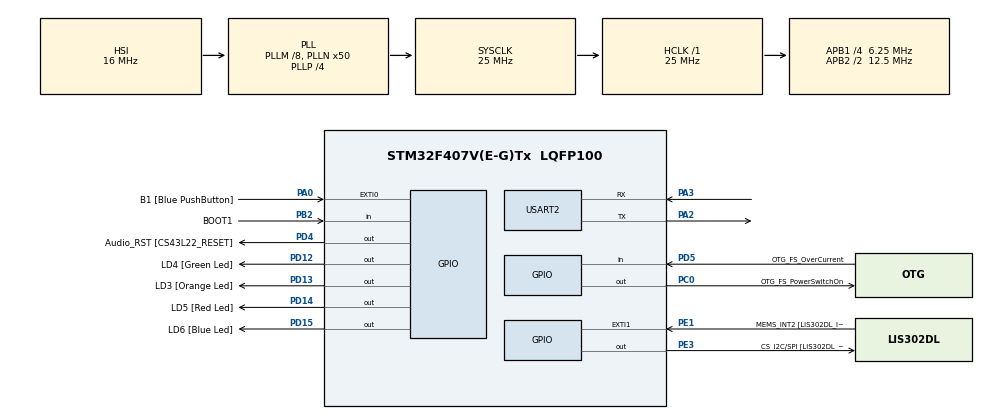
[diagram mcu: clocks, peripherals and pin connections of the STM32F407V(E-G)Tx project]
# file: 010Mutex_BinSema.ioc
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Mcu.Family=STM32F4
Mcu.Name=STM32F407V(E-G)Tx
Mcu.Package=LQFP100
NVIC.EXTI0_IRQn=true\:0\:0\:false\:false\:true\:true\:true
NVIC.PriorityGroup=NVIC_PRIORITYGROUP_4
NVIC.TIM6_DAC_IRQn=true\:15\:0\:false\:false\:true\:false\:true
NVIC.TimeBase=TIM6_DAC_IRQn
NVIC.TimeBaseIP=TIM6
NVIC.USART2_IRQn=true\:0\:0\:false\:false\:true\:true\:true
PA0-WKUP.GPIO_Label=B1 [Blue PushButton]
PA0-WKUP.Signal=GPXTI0
PA10.GPIO_Label=OTG_FS_ID
PA10.GPIO_Mode=GPIO_MODE_AF_PP
PA10.GPIO_PuPd=GPIO_NOPULL
PA10.GPIO_Speed=GPIO_SPEED_FREQ_LOW
PA10.Signal=USB_OTG_FS_ID
PA11.GPIO_Label=OTG_FS_DM
PA11.GPIO_Mode=GPIO_MODE_AF_PP
PA11.GPIO_PuPd=GPIO_NOPULL
PA11.GPIO_Speed=GPIO_SPEED_FREQ_LOW
PA11.Signal=USB_OTG_FS_DM
PA12.GPIO_Label=OTG_FS_DP
PA12.GPIO_Mode=GPIO_MODE_AF_PP
PA12.GPIO_PuPd=GPIO_NOPULL
PA12.GPIO_Speed=GPIO_SPEED_FREQ_LOW
PA12.Signal=USB_OTG_FS_DP
PA13.GPIO_Label=SWDIO
PA13.Signal=SYS_JTMS-SWDIO
PA14.GPIO_Label=SWCLK
PA14.Signal=SYS_JTCK-SWCLK
PA2.Mode=Asynchronous
PA2.Signal=USART2_TX
PA3.Mode=Asynchronous
PA3.Signal=USART2_RX
PA4.GPIO_Label=I2S3_WS [CS43L22_LRCK]
PA4.GPIO_Mode=GPIO_MODE_AF_PP
PA4.GPIO_PuPd=GPIO_NOPULL
PA4.GPIO_Speed=GPIO_SPEED_FREQ_LOW
PA4.Signal=I2S3_WS
PA5.GPIO_Label=SPI1_SCK [LIS302DL_SCL/SPC]
PA5.GPIO_Mode=GPIO_MODE_AF_PP
PA5.GPIO_PuPd=GPIO_NOPULL
PA5.GPIO_Speed=GPIO_SPEED_FREQ_LOW
PA5.Signal=SPI1_SCK
PA6.GPIO_Label=SPI1_MISO [LIS302DL_SDO]
PA6.GPIO_Mode=GPIO_MODE_AF_PP
PA6.GPIO_PuPd=GPIO_NOPULL
PA6.GPIO_Speed=GPIO_SPEED_FREQ_LOW
PA6.Signal=SPI1_MISO
PA7.GPIO_Label=SPI1_MOSI [LIS302DL_SDA/SDI/SDO]
PA7.GPIO_Mode=GPIO_MODE_AF_PP
PA7.GPIO_PuPd=GPIO_NOPULL
PA7.GPIO_Speed=GPIO_SPEED_FREQ_LOW
PA7.Signal=SPI1_MOSI
PA9.GPIO_Label=VBUS_FS
PA9.GPIO_Mode=GPIO_MODE_INPUT
PA9.GPIO_PuPd=GPIO_NOPULL
PA9.Signal=USB_OTG_FS_VBUS
PB10.GPIO_Label=CLK_IN [MP45DT02_CLK]
PB10.GPIO_Mode=GPIO_MODE_AF_PP
PB10.GPIO_PuPd=GPIO_NOPULL
PB10.GPIO_Speed=GPIO_SPEED_FREQ_LOW
PB10.Signal=I2S2_CK
PB2.GPIO_Label=BOOT1
PB2.GPIO_Mode=GPIO_MODE_INPUT
PB2.GPIO_PuPd=GPIO_NOPULL
PB2.Signal=GPIO_Input
PB3.GPIO_Label=SWO
PB3.Signal=SYS_JTDO-SWO
PB6.GPIO_Label=Audio_SCL [CS43L22_SCL]
PB6.GPIO_Mode=GPIO_MODE_AF_OD
PB6.GPIO_PuPd=GPIO_NOPULL
PB6.GPIO_Speed=GPIO_SPEED_FREQ_LOW
PB6.Signal=I2C1_SCL
PB9.GPIO_Label=Audio_SDA [CS43L22_SDA]
PB9.GPIO_Mode=GPIO_MODE_AF_OD
PB9.GPIO_PuPd=GPIO_NOPULL
PB9.GPIO_Speed=GPIO_SPEED_FREQ_LOW
PB9.Signal=I2C1_SDA
PC0.GPIO_Label=OTG_FS_PowerSwitchOn
PC0.GPIO_PuPd=GPIO_NOPULL
PC0.GPIO_Speed=GPIO_SPEED_FREQ_LOW
PC0.PinState=GPIO_PIN_SET
PC0.Signal=GPIO_Output
PC10.GPIO_Label=I2S3_SCK [CS43L22_SCLK]
PC10.GPIO_Mode=GPIO_MODE_AF_PP
PC10.GPIO_PuPd=GPIO_NOPULL
PC10.GPIO_Speed=GPIO_SPEED_FREQ_LOW
PC10.Signal=I2S3_CK
PC12.GPIO_Label=I2S3_SD [CS43L22_SDIN]
PC12.GPIO_Mode=GPIO_MODE_AF_PP
PC12.GPIO_PuPd=GPIO_NOPULL
PC12.GPIO_Speed=GPIO_SPEED_FREQ_LOW
PC12.Signal=I2S3_SD
PC14-OSC32_IN.GPIO_Label=PC14-OSC32_IN
PC14-OSC32_IN.Signal=RCC_OSC32_IN
PC15-OSC32_OUT.GPIO_Label=PC15-OSC32_OUT
PC15-OSC32_OUT.Signal=RCC_OSC32_OUT
PC3.GPIO_Label=PDM_OUT [MP45DT02_DOUT]
PC3.GPIO_Mode=GPIO_MODE_AF_PP
PC3.GPIO_PuPd=GPIO_NOPULL
PC3.GPIO_Speed=GPIO_SPEED_FREQ_LOW
PC3.Signal=I2S2_SD
PC7.GPIO_Label=I2S3_MCK [CS43L22_MCLK]
PC7.GPIO_Mode=GPIO_MODE_AF_PP
PC7.GPIO_PuPd=GPIO_NOPULL
PC7.GPIO_Speed=GPIO_SPEED_FREQ_LOW
PC7.Signal=I2S3_MCK
PD12.GPIO_Label=LD4 [Green Led]
PD12.GPIO_PuPd=GPIO_NOPULL
PD12.GPIO_Speed=GPIO_SPEED_FREQ_LOW
PD12.Signal=GPIO_Output
PD13.GPIO_Label=LD3 [Orange Led]
PD13.GPIO_PuPd=GPIO_NOPULL
PD13.GPIO_Speed=GPIO_SPEED_FREQ_LOW
PD13.Signal=GPIO_Output
PD14.GPIO_Label=LD5 [Red Led]
PD14.GPIO_PuPd=GPIO_NOPULL
PD14.GPIO_Speed=GPIO_SPEED_FREQ_LOW
PD14.Signal=GPIO_Output
PD15.GPIO_Label=LD6 [Blue Led]
PD15.GPIO_PuPd=GPIO_NOPULL
PD15.GPIO_Speed=GPIO_SPEED_FREQ_LOW
PD15.Signal=GPIO_Output
PD4.GPIO_Label=Audio_RST [CS43L22_RESET]
PD4.GPIO_PuPd=GPIO_NOPULL
PD4.GPIO_Speed=GPIO_SPEED_FREQ_LOW
PD4.Signal=GPIO_Output
PD5.GPIO_Label=OTG_FS_OverCurrent
PD5.GPIO_Mode=GPIO_MODE_INPUT
PD5.GPIO_PuPd=GPIO_NOPULL
PD5.Signal=GPIO_Input
PE1.GPIO_Label=MEMS_INT2 [LIS302DL_INT2]
PE1.GPIO_ModeDefaultEXTI=GPIO_MODE_EVT_RISING
PE1.GPIO_PuPd=GPIO_NOPULL
PE1.Signal=GPXTI1
PE3.GPIO_Label=CS_I2C/SPI [LIS302DL_CS_I2C/SPI]
PE3.GPIO_PuPd=GPIO_NOPULL
PE3.GPIO_Speed=GPIO_SPEED_FREQ_LOW
PE3.Signal=GPIO_Output
PH0-OSC_IN.GPIO_Label=PH0-OSC_IN
PH0-OSC_IN.Signal=RCC_OSC_IN
PH1-OSC_OUT.GPIO_Label=PH1-OSC_OUT
PH1-OSC_OUT.Signal=RCC_OSC_OUT
ProjectManager.HeapSize=0x200
ProjectManager.StackSize=0x400
ProjectManager.TargetToolchain=STM32CubeIDE
RCC.48MHZClocksFreq_Value=14285714.285714285
RCC.AHBFreq_Value=25000000
RCC.APB1CLKDivider=RCC_HCLK_DIV4
RCC.APB1Freq_Value=6250000
RCC.APB1TimFreq_Value=12500000
RCC.APB2CLKDivider=RCC_HCLK_DIV2
RCC.APB2Freq_Value=12500000
RCC.APB2TimFreq_Value=25000000
RCC.CortexFreq_Value=25000000
RCC.HCLKFreq_Value=25000000
RCC.HSE_VALUE=8000000
RCC.HSI_VALUE=16000000
RCC.LSE_VALUE=32768
RCC.PLLM=8
RCC.PLLN=50
RCC.PLLP=RCC_PLLP_DIV4
RCC.PLLQ=7
RCC.SYSCLKFreq_VALUE=25000000
RCC.SYSCLKSource=RCC_SYSCLKSOURCE_PLLCLK
RCC.VCOOutputFreq_Value=100000000
USART2.VirtualMode=VM_ASYNC
VP_SYS_VS_tim6.Mode=TIM6
board=STM32F407G-DISC1

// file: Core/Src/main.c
/* USER CODE BEGIN Header */
/**
  ******************************************************************************
  * @file           : main.c
  * @brief          : Main program body
  ******************************************************************************
  * @attention
  *
  * <h2><center>&copy; Copyright (c) 2021 STMicroelectronics.
  * All rights reserved.</center></h2>
  *
  * This software component is licensed by ST under BSD 3-Clause license,
  * the "License"; You may not use this file except in compliance with the
  * License. You may obtain a copy of the License at:
  *                        opensource.org/licenses/BSD-3-Clause
  *
  ******************************************************************************
  */
/* USER CODE END Header */
#include "main.h"

UART_HandleTypeDef huart2;

/* USER CODE BEGIN PV */

TaskHandle_t xTaskHandle1=NULL;
TaskHandle_t xTaskHandle2=NULL;

xSemaphoreHandle xBinarySemaphore;

/* USER CODE END PV */

void SystemClock_Config(void);
static void MX_GPIO_Init(void);
static void MX_USART2_UART_Init(void);
/* USER CODE BEGIN PFP */

void vTask1( void *pvParameters );
void vTask2( void *pvParameters );

/* USER CODE END PFP */

int main(void)
{

  /* MCU Configuration--------------------------------------------------------*/

  /* Reset of all peripherals, Initializes the Flash interface and the Systick. */
  HAL_Init();

  /* Configure the system clock */
  SystemClock_Config();

  /* Initialize all configured peripherals */
  MX_GPIO_Init();
  MX_USART2_UART_Init();
  /* USER CODE BEGIN 2 */

	//Creating a binary semaphore
	vSemaphoreCreateBinary(xBinarySemaphore);

	 if(xBinarySemaphore != NULL)
	 {
			/* Create one of the two tasks. */
			xTaskCreate(	vTask1,		/* Pointer to the function that implements the task. */
							"Task 1",	/* Text name for the task.  This is to facilitate debugging only. */
							500,		/* Stack depth in words. */
							NULL,		/* We are not using the task parameter. */
							1,			/* This task will run at priority 1. */
							NULL );		/* We are not using the task handle. */

			/* Create the other task in exactly the same way. */
			xTaskCreate( vTask2, "Task 2", 500, NULL, 1, NULL );

			//makes sema available for the first time
			xSemaphoreGive(xBinarySemaphore);

			/* Start the scheduler so our tasks start executing. */
			vTaskStartScheduler();
	 }else
	 {
		 printf("binary semaphore creation failed\r\n");

	 }

  /* USER CODE END 2 */

  /* Infinite loop */
  while (1)
  {

  }
}

void SystemClock_Config(void)
{
  RCC_OscInitTypeDef RCC_OscInitStruct = {0};
  RCC_ClkInitTypeDef RCC_ClkInitStruct = {0};

  /** Configure the main internal regulator output voltage
  */
  __HAL_RCC_PWR_CLK_ENABLE();
  __HAL_PWR_VOLTAGESCALING_CONFIG(PWR_REGULATOR_VOLTAGE_SCALE1);
  /** Initializes the RCC Oscillators according to the specified parameters
  * in the RCC_OscInitTypeDef structure.
  */
  RCC_OscInitStruct.OscillatorType = RCC_OSCILLATORTYPE_HSI;
  RCC_OscInitStruct.HSIState = RCC_HSI_ON;
  RCC_OscInitStruct.HSICalibrationValue = RCC_HSICALIBRATION_DEFAULT;
  RCC_OscInitStruct.PLL.PLLState = RCC_PLL_ON;
  RCC_OscInitStruct.PLL.PLLSource = RCC_PLLSOURCE_HSI;
  RCC_OscInitStruct.PLL.PLLM = 8;
  RCC_OscInitStruct.PLL.PLLN = 50;
  RCC_OscInitStruct.PLL.PLLP = RCC_PLLP_DIV4;
  RCC_OscInitStruct.PLL.PLLQ = 7;
  if (HAL_RCC_OscConfig(&RCC_OscInitStruct) != HAL_OK)
  {
    Error_Handler();
  }
  /** Initializes the CPU, AHB and APB buses clocks
  */
  RCC_ClkInitStruct.ClockType = RCC_CLOCKTYPE_HCLK|RCC_CLOCKTYPE_SYSCLK
                              |RCC_CLOCKTYPE_PCLK1|RCC_CLOCKTYPE_PCLK2;
  RCC_ClkInitStruct.SYSCLKSource = RCC_SYSCLKSOURCE_PLLCLK;
  RCC_ClkInitStruct.AHBCLKDivider = RCC_SYSCLK_DIV1;
  RCC_ClkInitStruct.APB1CLKDivider = RCC_HCLK_DIV4;
  RCC_ClkInitStruct.APB2CLKDivider = RCC_HCLK_DIV2;

  if (HAL_RCC_ClockConfig(&RCC_ClkInitStruct, FLASH_LATENCY_0) != HAL_OK)
  {
    Error_Handler();
  }
}

static void MX_USART2_UART_Init(void)
{

  huart2.Instance = USART2;
  huart2.Init.BaudRate = 115200;
  huart2.Init.WordLength = UART_WORDLENGTH_8B;
  huart2.Init.StopBits = UART_STOPBITS_1;
  huart2.Init.Parity = UART_PARITY_NONE;
  huart2.Init.Mode = UART_MODE_TX_RX;
  huart2.Init.HwFlowCtl = UART_HWCONTROL_NONE;
  huart2.Init.OverSampling = UART_OVERSAMPLING_16;
  if (HAL_UART_Init(&huart2) != HAL_OK)
  {
    Error_Handler();
  }

}

static void MX_GPIO_Init(void)
{
  GPIO_InitTypeDef GPIO_InitStruct = {0};

  /* GPIO Ports Clock Enable */
  __HAL_RCC_GPIOE_CLK_ENABLE();
  __HAL_RCC_GPIOC_CLK_ENABLE();
  __HAL_RCC_GPIOH_CLK_ENABLE();
  __HAL_RCC_GPIOA_CLK_ENABLE();
  __HAL_RCC_GPIOB_CLK_ENABLE();
  __HAL_RCC_GPIOD_CLK_ENABLE();

  /*Configure GPIO pin Output Level */
  HAL_GPIO_WritePin(CS_I2C_SPI_GPIO_Port, CS_I2C_SPI_Pin, GPIO_PIN_RESET);

  /*Configure GPIO pin Output Level */
  HAL_GPIO_WritePin(OTG_FS_PowerSwitchOn_GPIO_Port, OTG_FS_PowerSwitchOn_Pin, GPIO_PIN_SET);

  /*Configure GPIO pin Output Level */
  HAL_GPIO_WritePin(GPIOD, LD4_Pin|LD3_Pin|LD5_Pin|LD6_Pin
                          |Audio_RST_Pin, GPIO_PIN_RESET);

  /*Configure GPIO pin : CS_I2C_SPI_Pin */
  GPIO_InitStruct.Pin = CS_I2C_SPI_Pin;
  GPIO_InitStruct.Mode = GPIO_MODE_OUTPUT_PP;
  GPIO_InitStruct.Pull = GPIO_NOPULL;
  GPIO_InitStruct.Speed = GPIO_SPEED_FREQ_LOW;
  HAL_GPIO_Init(CS_I2C_SPI_GPIO_Port, &GPIO_InitStruct);

  /*Configure GPIO pin : OTG_FS_PowerSwitchOn_Pin */
  GPIO_InitStruct.Pin = OTG_FS_PowerSwitchOn_Pin;
  GPIO_InitStruct.Mode = GPIO_MODE_OUTPUT_PP;
  GPIO_InitStruct.Pull = GPIO_NOPULL;
  GPIO_InitStruct.Speed = GPIO_SPEED_FREQ_LOW;
  HAL_GPIO_Init(OTG_FS_PowerSwitchOn_GPIO_Port, &GPIO_InitStruct);

  /*Configure GPIO pin : PDM_OUT_Pin */
  GPIO_InitStruct.Pin = PDM_OUT_Pin;
  GPIO_InitStruct.Mode = GPIO_MODE_AF_PP;
  GPIO_InitStruct.Pull = GPIO_NOPULL;
  GPIO_InitStruct.Speed = GPIO_SPEED_FREQ_LOW;
  GPIO_InitStruct.Alternate = GPIO_AF5_SPI2;
  HAL_GPIO_Init(PDM_OUT_GPIO_Port, &GPIO_InitStruct);

  /*Configure GPIO pin : B1_Pin */
  GPIO_InitStruct.Pin = B1_Pin;
  GPIO_InitStruct.Mode = GPIO_MODE_IT_RISING;
  GPIO_InitStruct.Pull = GPIO_NOPULL;
  HAL_GPIO_Init(B1_GPIO_Port, &GPIO_InitStruct);

  /*Configure GPIO pin : I2S3_WS_Pin */
  GPIO_InitStruct.Pin = I2S3_WS_Pin;
  GPIO_InitStruct.Mode = GPIO_MODE_AF_PP;
  GPIO_InitStruct.Pull = GPIO_NOPULL;
  GPIO_InitStruct.Speed = GPIO_SPEED_FREQ_LOW;
  GPIO_InitStruct.Alternate = GPIO_AF6_SPI3;
  HAL_GPIO_Init(I2S3_WS_GPIO_Port, &GPIO_InitStruct);

  /*Configure GPIO pins : SPI1_SCK_Pin SPI1_MISO_Pin SPI1_MOSI_Pin */
  GPIO_InitStruct.Pin = SPI1_SCK_Pin|SPI1_MISO_Pin|SPI1_MOSI_Pin;
  GPIO_InitStruct.Mode = GPIO_MODE_AF_PP;
  GPIO_InitStruct.Pull = GPIO_NOPULL;
  GPIO_InitStruct.Speed = GPIO_SPEED_FREQ_LOW;
  GPIO_InitStruct.Alternate = GPIO_AF5_SPI1;
  HAL_GPIO_Init(GPIOA, &GPIO_InitStruct);

  /*Configure GPIO pin : BOOT1_Pin */
  GPIO_InitStruct.Pin = BOOT1_Pin;
  GPIO_InitStruct.Mode = GPIO_MODE_INPUT;
  GPIO_InitStruct.Pull = GPIO_NOPULL;
  HAL_GPIO_Init(BOOT1_GPIO_Port, &GPIO_InitStruct);

  /*Configure GPIO pin : CLK_IN_Pin */
  GPIO_InitStruct.Pin = CLK_IN_Pin;
  GPIO_InitStruct.Mode = GPIO_MODE_AF_PP;
  GPIO_InitStruct.Pull = GPIO_NOPULL;
  GPIO_InitStruct.Speed = GPIO_SPEED_FREQ_LOW;
  GPIO_InitStruct.Alternate = GPIO_AF5_SPI2;
  HAL_GPIO_Init(CLK_IN_GPIO_Port, &GPIO_InitStruct);

  /*Configure GPIO pins : LD4_Pin LD3_Pin LD5_Pin LD6_Pin
                           Audio_RST_Pin */
  GPIO_InitStruct.Pin = LD4_Pin|LD3_Pin|LD5_Pin|LD6_Pin
                          |Audio_RST_Pin;
  GPIO_InitStruct.Mode = GPIO_MODE_OUTPUT_PP;
  GPIO_InitStruct.Pull = GPIO_NOPULL;
  GPIO_InitStruct.Speed = GPIO_SPEED_FREQ_LOW;
  HAL_GPIO_Init(GPIOD, &GPIO_InitStruct);

  /*Configure GPIO pins : I2S3_MCK_Pin I2S3_SCK_Pin I2S3_SD_Pin */
  GPIO_InitStruct.Pin = I2S3_MCK_Pin|I2S3_SCK_Pin|I2S3_SD_Pin;
  GPIO_InitStruct.Mode = GPIO_MODE_AF_PP;
  GPIO_InitStruct.Pull = GPIO_NOPULL;
  GPIO_InitStruct.Speed = GPIO_SPEED_FREQ_LOW;
  GPIO_InitStruct.Alternate = GPIO_AF6_SPI3;
  HAL_GPIO_Init(GPIOC, &GPIO_InitStruct);

  /*Configure GPIO pin : VBUS_FS_Pin */
  GPIO_InitStruct.Pin = VBUS_FS_Pin;
  GPIO_InitStruct.Mode = GPIO_MODE_INPUT;
  GPIO_InitStruct.Pull = GPIO_NOPULL;
  HAL_GPIO_Init(VBUS_FS_GPIO_Port, &GPIO_InitStruct);

  /*Configure GPIO pins : OTG_FS_ID_Pin OTG_FS_DM_Pin OTG_FS_DP_Pin */
  GPIO_InitStruct.Pin = OTG_FS_ID_Pin|OTG_FS_DM_Pin|OTG_FS_DP_Pin;
  GPIO_InitStruct.Mode = GPIO_MODE_AF_PP;
  GPIO_InitStruct.Pull = GPIO_NOPULL;
  GPIO_InitStruct.Speed = GPIO_SPEED_FREQ_LOW;
  GPIO_InitStruct.Alternate = GPIO_AF10_OTG_FS;
  HAL_GPIO_Init(GPIOA, &GPIO_InitStruct);

  /*Configure GPIO pin : OTG_FS_OverCurrent_Pin */
  GPIO_InitStruct.Pin = OTG_FS_OverCurrent_Pin;
  GPIO_InitStruct.Mode = GPIO_MODE_INPUT;
  GPIO_InitStruct.Pull = GPIO_NOPULL;
  HAL_GPIO_Init(OTG_FS_OverCurrent_GPIO_Port, &GPIO_InitStruct);

  /*Configure GPIO pins : Audio_SCL_Pin Audio_SDA_Pin */
  GPIO_InitStruct.Pin = Audio_SCL_Pin|Audio_SDA_Pin;
  GPIO_InitStruct.Mode = GPIO_MODE_AF_OD;
  GPIO_InitStruct.Pull = GPIO_NOPULL;
  GPIO_InitStruct.Speed = GPIO_SPEED_FREQ_LOW;
  GPIO_InitStruct.Alternate = GPIO_AF4_I2C1;
  HAL_GPIO_Init(GPIOB, &GPIO_InitStruct);

  /*Configure GPIO pin : MEMS_INT2_Pin */
  GPIO_InitStruct.Pin = MEMS_INT2_Pin;
  GPIO_InitStruct.Mode = GPIO_MODE_EVT_RISING;
  GPIO_InitStruct.Pull = GPIO_NOPULL;
  HAL_GPIO_Init(MEMS_INT2_GPIO_Port, &GPIO_InitStruct);

  /* EXTI interrupt init*/
  HAL_NVIC_SetPriority(EXTI0_IRQn, 0, 0);
  HAL_NVIC_EnableIRQ(EXTI0_IRQn);

}

/* USER CODE BEGIN 4 */

void vTask1( void *pvParameters )
{
	/* As per most tasks, this task is implemented in an infinite loop. */
	for( ;; )
	{
		// before printing , lets own the semaphore or take the semaphore */
		xSemaphoreTake( xBinarySemaphore, portMAX_DELAY );

		/* Print out the name of this task. */
		printf("Task 1 is running\r\n");

		// give the semaphore here. give operation increases the bin sema value back to 1
		xSemaphoreGive(xBinarySemaphore);

		/* Now this task will be blocked for 500ticks */
		vTaskDelay( pdMS_TO_TICKS(500) );
	}
}

void vTask2( void *pvParameters )
{
	/* As per most tasks, this task is implemented in an infinite loop. */
	for( ;; )
	{
		// before printing , lets own the semaphore or take the semaphore */
		xSemaphoreTake( xBinarySemaphore, portMAX_DELAY );

		/* Print out the name of this task. */
		printf("Task 2 is running\r\n");

		// give the semaphore here. give operation increases the bin sema value back to 1
		xSemaphoreGive(xBinarySemaphore);

		/* Now this task will be blocked for 500ticks */
		vTaskDelay( pdMS_TO_TICKS(500));
	}
}

/* USER CODE END 4 */

void HAL_TIM_PeriodElapsedCallback(TIM_HandleTypeDef *htim)
{
  if (htim->Instance == TIM6) {
    HAL_IncTick();
  }
}

void Error_Handler(void)
{
  __disable_irq();
  while (1)
  {
  }
}

/************************ (C) COPYRIGHT STMicroelectronics *****END OF FILE****/
